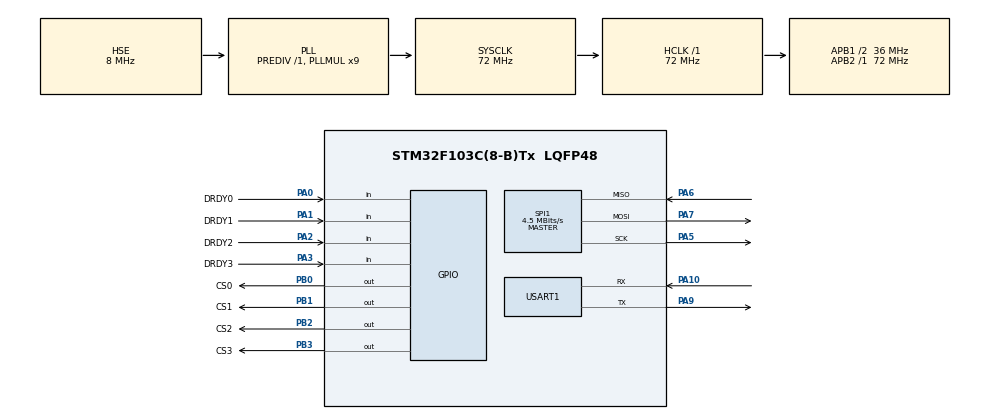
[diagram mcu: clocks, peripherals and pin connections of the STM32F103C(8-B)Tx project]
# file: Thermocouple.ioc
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Mcu.Family=STM32F1
Mcu.Name=STM32F103C(8-B)Tx
Mcu.Package=LQFP48
NVIC.PriorityGroup=NVIC_PRIORITYGROUP_4
NVIC.USART1_IRQn=true\:2\:0\:false\:false\:true\:false\:false\:true
PA0-WKUP.GPIO_Label=DRDY0
PA0-WKUP.GPIO_PuPd=GPIO_PULLUP
PA0-WKUP.Signal=GPIO_Input
PA1.GPIO_Label=DRDY1
PA1.GPIO_PuPd=GPIO_PULLUP
PA1.Signal=GPIO_Input
PA2.GPIO_Label=DRDY2
PA2.GPIO_PuPd=GPIO_PULLUP
PA2.Signal=GPIO_Input
PA3.GPIO_Label=DRDY3
PA3.GPIO_PuPd=GPIO_PULLUP
PA3.Signal=GPIO_Input
PA10.Mode=Asynchronous
PA10.Signal=USART1_RX
PA13.Mode=Serial_Wire
PA13.Signal=SYS_JTMS-SWDIO
PA14.Mode=Serial_Wire
PA14.Signal=SYS_JTCK-SWCLK
PA5.Mode=Full_Duplex_Master
PA5.Signal=SPI1_SCK
PA6.Mode=Full_Duplex_Master
PA6.Signal=SPI1_MISO
PA7.Mode=Full_Duplex_Master
PA7.Signal=SPI1_MOSI
PA9.Mode=Asynchronous
PA9.Signal=USART1_TX
PB0.GPIO_Label=CS0
PB0.GPIO_Speed=GPIO_SPEED_FREQ_HIGH
PB0.PinState=GPIO_PIN_SET
PB0.Signal=GPIO_Output
PB1.GPIO_Label=CS1
PB1.GPIO_Speed=GPIO_SPEED_FREQ_HIGH
PB1.PinState=GPIO_PIN_SET
PB1.Signal=GPIO_Output
PB2.GPIO_Label=CS2
PB2.GPIO_Speed=GPIO_SPEED_FREQ_HIGH
PB2.PinState=GPIO_PIN_SET
PB2.Signal=GPIO_Output
PB3.GPIO_Label=CS3
PB3.GPIO_Speed=GPIO_SPEED_FREQ_HIGH
PB3.PinState=GPIO_PIN_SET
PB3.Signal=GPIO_Output
PD0-OSC_IN.Mode=HSE-External-Oscillator
PD0-OSC_IN.Signal=RCC_OSC_IN
PD1-OSC_OUT.Mode=HSE-External-Oscillator
PD1-OSC_OUT.Signal=RCC_OSC_OUT
ProjectManager.HeapSize=0x200
ProjectManager.StackSize=0x800
ProjectManager.TargetToolchain=MDK-ARM V5.32
RCC.AHBFreq_Value=72000000
RCC.APB1CLKDivider=RCC_HCLK_DIV2
RCC.APB1Freq_Value=36000000
RCC.APB1TimFreq_Value=72000000
RCC.APB2CLKDivider=RCC_HCLK_DIV1
RCC.APB2Freq_Value=72000000
RCC.APB2TimFreq_Value=72000000
RCC.HCLKFreq_Value=72000000
RCC.PLLMUL=RCC_PLL_MUL9
RCC.PLLSourceVirtual=RCC_PLLSOURCE_HSE
RCC.SYSCLKFreq_VALUE=72000000
RCC.SYSCLKSource=RCC_SYSCLKSOURCE_PLLCLK
RCC.USBFreq_Value=72000000
SPI1.BaudRatePrescaler=SPI_BAUDRATEPRESCALER_16
SPI1.CalculateBaudRate=4.5 MBits/s
SPI1.Direction=SPI_DIRECTION_2LINES
SPI1.Mode=SPI_MODE_MASTER
SPI1.VirtualType=VM_MASTER
USART1.VirtualMode=VM_ASYNC
board=custom

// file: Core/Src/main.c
/* USER CODE BEGIN Header */
/**
  ******************************************************************************
  * @file           : main.c
  * @brief          : N x ADS1220 / 2N 路热电偶测温系统 主程序
  *                  (N = ADS1220_CHIP_COUNT, 默认 4 片 = 8 路; 改一个宏即可变 2/4/8 片)
  ******************************************************************************
  * @attention
  *
  * Copyright (c) 2026 STMicroelectronics.
  * All rights reserved.
  *
  * This software is licensed under terms that can be found in the LICENSE file
  * in the root directory of this software component.
  * If no LICENSE file comes with this software, it is provided AS-IS.
  *
  ******************************************************************************
  */
/* USER CODE END Header */
#include "main.h"
#include "spi.h"
#include "usart.h"
#include "gpio.h"

/* USER CODE BEGIN Includes */
#include "board_config.h"
#include "spi_driver.h"
#include "ads1220.h"
#include "thermocouple.h"
#include "uart_protocol.h"
/* USER CODE END Includes */

/* USER CODE BEGIN PTD */

/**
  * @brief 采集轮询状态机。
  *
  *  === 为什么仍然"广播 START/SYNC + 等一个转换周期" ===
  *  本板每片 ADS1220 各有一根 DRDY (PA0..PA3), 直接进 MCU, 不用外部逻辑门。
  *  SPI 总线是**共享**的, 同一时刻只能跟一片说话, 所以还是采用"先让所有片
  *  在时间上对齐, 再逐片读"的策略:
  *
  *    1) 每次切换 MUX / TS 之后, 对每片 **逐片** 发 WREG + START/SYNC。
  *       START/SYNC 会复位数字滤波器并重新开始转换, 于是所有片在时间上重新对齐
  *       (彼此只差几十微秒的 SPI 下发时间)。
  *    2) 等待期间同时满足两个条件才继续:
  *         a. 已经过了 >= 0.9 个转换周期 (保证读到的是新通道的数据, 不是上一次的);
  *         b. 所有"被等待的片"的 DRDY 都变低 —— 由 SPI_Driver_DrdyTakeFlag()
  *            把 N 根 DRDY 软件合成一个"全部就绪" (等价于原来的合并信号,
  *            但多了一个能力: 能分辨出到底是哪一片没就绪)。
  *       超时 (转换周期 + 25ms) 则记一次故障、把没就绪的片从等待集合里摘掉
  *       (同时置 chip_err 位), 流程继续, 保证永不卡死。
  *    3) 读完数据后, 该片的 DRDY 会在下一个 SCLK 上升沿自动变高,
  *       "全部就绪"随之解除, 等待下一轮转换完成, 不需要任何复位操作。
  *
  *  ★ "被等待的片" = 上电回读校验通过的片 (见 App_StartWait / s_chip_ok_mask)。
  *    这样"板上留了 4 个位置但只焊了 2 片"时, 没焊的片根本不在等待集合里,
  *    既不会每轮超时, 也不会把采集拖慢 —— 这是分步贴装能直接跑通的关键。
  *
  *  一个完整轮次 = A 通道 -> 切 MUX -> B 通道 -> 切 TS -> 冷端 -> 恢复 + 上报,
 *  每个阶段各占 s_avg_n 个转换周期 (20SPS 下一次 50ms), 因此 20SPS + 不平均
 *  时约 150ms/轮; 若把平均次数设为 N, 则每轮约 3 x N x 50ms。
 */
typedef enum
{
  APP_ST_STOPPED = 0,   /**< 已停止 (所有片处于 POWERDOWN) */
  APP_ST_WAIT_A,        /**< 等 A 通道 (AIN0/AIN1) 转换完成 */
  APP_ST_WAIT_B,        /**< 等 B 通道 (AIN2/AIN3) 转换完成 */
  APP_ST_WAIT_T         /**< 等内部温度传感器 (冷端) 转换完成 */
} App_State_t;

/* USER CODE END PTD */

/* USER CODE BEGIN PD */

/** 采集运行中, 超过这个时间一次"全部就绪"都没出现 -> 置"DRDY 静默"故障位。
 *  正常运行时每个转换周期至少来一次 (20SPS x 3 阶段 ≈ 20 次/秒),
 *  1 秒都没有说明总线或器件出问题了。 */
#define TC_DRDY_SILENT_MS      1000u

/* USER CODE END PD */

/* USER CODE BEGIN PV */

/*---- 配置与采集数据 ----*/
static ADS1220_Config_t s_cfg;                                  /**< 各片共用配置镜像 */

static int32_t  s_codeA[ADS1220_CHIP_COUNT];                    /**< A 通道 24bit 码值 */
static int32_t  s_codeB[ADS1220_CHIP_COUNT];                    /**< B 通道 24bit 码值 */
static int32_t  s_codeT[ADS1220_CHIP_COUNT];                    /**< 内部温度传感器码值 */
static int32_t  s_offset[ADS1220_CHIP_COUNT];                   /**< 上电失调校准结果(码值) */
static uint8_t  s_errA[ADS1220_CHIP_COUNT];                     /**< 0 = SPI 成功 */
static uint8_t  s_errB[ADS1220_CHIP_COUNT];
static uint8_t  s_errT[ADS1220_CHIP_COUNT];

static int32_t  s_accA[ADS1220_CHIP_COUNT];                     /**< A 通道累加器 (软件平均) */
static int32_t  s_accB[ADS1220_CHIP_COUNT];                     /**< B 通道累加器 */
static int32_t  s_accT[ADS1220_CHIP_COUNT];                     /**< 冷端温度累加器 */

#if (TC_UPLINK_MODE != 1)
/** 本板实际通道的最终温度 (长度 = 片数 x 2)。
 *  ★ 只在"固件算温度"模式 (0/2) 下需要 —— 默认模式 1 由上位机算, 这里不占空间。 */
static float    s_temps[TC_CHANNEL_COUNT];

/** 上报用的 32 槽温度缓冲区 (CMD=0x10)。协议固定 32 槽, 本板没接的槽位填 NaN。
 *  (上位机靠状态帧里的片数知道哪几路是真实存在的) */
static float    s_report[UART_TEMP_SLOT_COUNT];
#endif

#if (TC_UPLINK_MODE != 0)
/** ★ 原始上报缓冲 (CMD=0x12): 32 槽热电势 µV + 16 槽冷端温度 °C。
 *
 *  这是"温度由上位机换算"的数据源: 固件只把 ADS1220 的 24bit 码值变成
 *  µV 和冷端 °C, 其余(分度表/插值/单支标定)全部交给上位机 pc_ui/tc_table.py。
 *  码值 -> µV 这一步是无损的 (见 board_config.h 的说明)。 */
static float    s_report_uv[UART_TEMP_SLOT_COUNT];
static float    s_report_cj[UART_CJ_SLOT_COUNT];
#endif

/*---- 状态 ----*/
static App_State_t s_state;
static uint8_t   s_run;                                         /**< 1 = 采集运行中 */
static uint8_t   s_single_mode;                                 /**< 1 = 本次是"读单次"请求 */
static uint8_t   s_single_ch;                                   /**< 单次请求的通道号 */
static uint8_t   s_hold_a;                                      /**< MUX 保持计数 (CH_A) */
static uint8_t   s_hold_b;                                      /**< MUX 保持计数 (CH_B) */
static uint8_t   s_hold_t;                                      /**< MUX 保持计数 (冷端) */
static uint8_t   s_avg_n;                                       /**< ★软件平均次数 (1..TC_AVG_MAX_CONVERSIONS), CMD=0x04 可改 */

static uint16_t  s_chip_ok_mask;                                /**< 上电回读校验通过的片 */
static uint16_t  s_chip_err_mask;                               /**< 本轮 SPI 出错的片 */
static uint16_t  s_drdy_missing_mask;                           /**< 一直不就绪的片(没焊/坏了) */
static uint16_t  s_wait_mask;                                   /**< 本阶段实际要等的片 */
static uint32_t  s_round_count;                                 /**< 已完成轮次 */
static uint16_t  s_open_cnt;                                    /**< 断线累计次数 */
static uint16_t  s_phase_timeout_cnt;                           /**< 等待 DRDY 超时次数 */
static uint8_t   s_flags;                                       /**< UART_ST_FLAG_xxx */

/*---- 等待转换完成的窗口 ----*/
static uint32_t  s_wait_start;                                  /**< 本轮等待起始 tick */
static uint32_t  s_wait_min_ms;                                 /**< 最小等待 (0.9 x 转换周期) */
static uint32_t  s_wait_max_ms;                                 /**< 超时 (转换周期 + 25ms) */

/*---- 心跳 / 周期上报 ----*/
static uint32_t  s_last_drdy_cnt;
static uint32_t  s_last_drdy_tick;
static uint32_t  s_status_push_tick;

/* USER CODE END PV */

void SystemClock_Config(void);
/* USER CODE BEGIN PFP */
static void    App_StartWait(void);
static uint8_t App_WaitDone(void);
static void    App_ReadAll(int32_t *dst, uint8_t *err);
static void    App_ClearAvg(void);
static void    App_SetAverage(uint8_t n);
static void    App_ComputeTemps(void);
static void    App_ReportTemps(void);
static void    App_StatusFill(UART_Status_t *st);
static void    App_ReportStatus(void);
static void    App_Start(void);
static void    App_Stop(void);
static void    App_SetRate(uint8_t dr_bits, uint8_t reject);
static void    App_RequestSingle(uint8_t channel);
static void    App_HandleEvent(const UART_EventMsg_t *msg);
static void    App_Housekeeping(void);
static void    App_Run(void);
static void    App_HwInit(void);
/* USER CODE END PFP */

/* USER CODE BEGIN 0 */

/*==============================================================================
 * 小工具
 *============================================================================*/
/* (保留位置: 目前没有通用小工具, 全部逻辑都在下面的模块里) */

/*==============================================================================
 * 等待窗口
 *============================================================================*/
/** 开始一个新的"等转换完成"窗口。
 *  必须在广播 START/SYNC 之后调用, 这样计时基准和器件的转换起点一致。 */
static void App_StartWait(void)
{
  const ADS1220_RateInfo_t *ri = ADS1220_RateInfo(s_cfg.dr);
  uint16_t configured = (uint16_t)((1u << ADS1220_CHIP_COUNT) - 1u);

  /* 最小等待 = 0.9 x 实际转换时间, 宁可晚一点也不要把上一通道的旧数据当新的 */
  s_wait_min_ms = (ri->conv_us * ADS1220_WAIT_MIN_NUM) /
                  (1000u * ADS1220_WAIT_MIN_DEN);
  if (s_wait_min_ms == 0u)
  {
    s_wait_min_ms = 1u;                 /* 高速率下至少等 1ms */
  }

  /* 超时 = 转换时间 + 25ms 裕量 */
  s_wait_max_ms = (ri->conv_us / 1000u) + ADS1220_WAIT_MARGIN_MS;

  /* ★ 本阶段要等的片 = 上电回读校验通过 且 没有"一直不就绪"记录的片。
   *   这样"板上留了 4 个位置但只焊了 2 片"时, 没焊的片不在等待集合里,
   *   既不会每轮白等 25ms, 也不会把整轮采集拖慢。 */
  s_wait_mask = (uint16_t)(s_chip_ok_mask &
                           (uint16_t)(~s_drdy_missing_mask) &
                           configured);
  if (s_wait_mask == 0u)
  {
    /* 一片都没通过校验 (例如校验还没跑过) -> 退化成等全部, 让它超时并如实报错 */
    s_wait_mask = configured;
  }
  SPI_Driver_DrdySetExpectedMask(s_wait_mask);

  SPI_Driver_DrdyClearFlag();           /* 清掉 START 之前的残留"全就绪"锁存 */
  s_wait_start = HAL_GetTick();
}

/**
  * @brief 查询等待是否结束
  * @retval 0 = 继续等; 1 = 所有被等的片都就绪; 2 = 超时
  */
static uint8_t App_WaitDone(void)
{
  uint32_t elapsed = HAL_GetTick() - s_wait_start;

  if (elapsed < s_wait_min_ms)
  {
    return 0u;                          /* 还没到最小建立时间, 一律忽略 */
  }

  if (SPI_Driver_DrdyTakeFlag() != 0u)
  {
    return 1u;                          /* 所有被等的片都有新数据了 */
  }

  if (elapsed >= s_wait_max_ms)
  {
    /* ★ 超时诊断: 是哪几片没就绪? 把它们记进 chip_err 并从等待集合里摘掉,
     *   避免后面每一轮都在它们身上白等 25ms。摘掉之后, 上位机右侧的
     *   "芯片 ERR 位图"就能直接指出问题片号 (没焊 / 虚焊 / 供电异常)。 */
    uint16_t ready   = SPI_Driver_DrdyReadyMask();
    uint16_t missing = (uint16_t)(s_wait_mask & (uint16_t)(~ready));

    if (missing != 0u)
    {
      s_drdy_missing_mask |= missing;
      s_chip_err_mask     |= missing;
      s_flags             |= UART_ST_FLAG_DRDY_PARTIAL;
      s_wait_mask          = (uint16_t)(s_wait_mask & (uint16_t)(~missing));
      SPI_Driver_DrdySetExpectedMask(s_wait_mask);   /* 传 0 时内部会保持原值 */
    }
    return 2u;                          /* 超时: 器件没响应 */
  }

  return 0u;
}

/*==============================================================================
 * 数据读取
 *============================================================================*/
/** 逐片读 24bit。err[] 记录每片的 SPI 结果 (0 = 成功)。 */
static void App_ReadAll(int32_t *dst, uint8_t *err)
{
  uint8_t chip;

  for (chip = 0u; chip < ADS1220_CHIP_COUNT; chip++)
  {
    err[chip] = (uint8_t)ADS1220_ReadData(chip, &dst[chip], NULL);
  }
}

/** 清空三个阶段的软件平均累加器 (启动 / 单次读取 / 改平均次数时调用,
 *  避免把上一轮的半截累加结果带进新一轮)。 */
static void App_ClearAvg(void)
{
  uint8_t chip;

  for (chip = 0u; chip < ADS1220_CHIP_COUNT; chip++)
  {
    s_accA[chip] = 0;
    s_accB[chip] = 0;
    s_accT[chip] = 0;
  }
}

/** ★ 设置软件平均次数 (CMD=0x04)。
 *
 *  夹到 1..TC_AVG_MAX_CONVERSIONS (0 会被当成 1 = 不平均)。
 *  运行中修改是安全的: 立刻清累加器和保持计数, 下一阶段的读取就用新次数,
 *  不会把"新旧次数"的样本混在一起平均。 */
static void App_SetAverage(uint8_t n)
{
  if (n < 1u)
  {
    n = 1u;
  }
  if (n > (uint8_t)TC_AVG_MAX_CONVERSIONS)
  {
    n = (uint8_t)TC_AVG_MAX_CONVERSIONS;
  }

  s_avg_n  = n;
  s_hold_a = 0u;
  s_hold_b = 0u;
  s_hold_t = 0u;
  App_ClearAvg();
}

/*==============================================================================
 * 温度换算 / 原始量打包 (冷端补偿在这里完成)
 *============================================================================*/
/** 把本轮的 A/B 通道与冷端整理成上报数据, 并做断线判定。
 *
 *  ★ 这里是"温度由谁换算"的分岔点 (TC_UPLINK_MODE):
 *      0 -> 固件用 NIST 多项式算 °C, 填 s_temps      (老行为)
 *      1 -> 只填 s_report_uv / s_report_cj, 上位机查分度表算 °C  (默认)
 *      2 -> 两边都填, 用于固件/上位机对比验证
 *
 *  三种模式下 s_chip_err_mask / s_open_cnt / s_drdy_missing_mask 的维护完全一致,
 *  所以状态帧和断线计数在任何模式下都照常工作。
 *
 *  注意断线判定用的是 TC_IsOpen() 而不是 TC_Compute(): 前者只做
 *  "冷端量程 + 满量程码值 + 物理窗口"三个判断, 不含任何多项式运算,
 *  因此模式 1 下固件不需要算温度也能准确识别断线。 */
static void App_ComputeTemps(void)
{
  uint8_t chip;
  uint8_t ia;
  uint8_t ib;
  float   cj_c;
  float   emf_uv;

  s_chip_err_mask = 0u;         /* 本轮错误位图从这里开始重新累积 */

#if (TC_UPLINK_MODE != 0)
  /* 原始上报缓冲先全置 NaN: 没接的通道 / 没贴的片保持 NaN, 上位机据此显示"无效" */
  {
    uint16_t k;
    for (k = 0u; k < UART_TEMP_SLOT_COUNT; k++)
    {
      s_report_uv[k] = UART_NaN();
    }
    for (k = 0u; k < UART_CJ_SLOT_COUNT; k++)
    {
      s_report_cj[k] = UART_NaN();
    }
  }
#endif

  for (chip = 0u; chip < ADS1220_CHIP_COUNT; chip++)
  {
    ia = TC_CH_INDEX_A(chip);
    ib = TC_CH_INDEX_B(chip);

    /* 默认本片两个通道都无效 */
#if (TC_UPLINK_MODE != 1)
    s_temps[ia] = UART_NaN();
    s_temps[ib] = UART_NaN();
#endif

    /* 跳过两类片:
     *   a) 上电回读校验没通过 (没焊/虚焊) —— 避免把"空总线读回的全 0"
     *      当成 0uV, 从而报出一个看起来正常的冷端温度;
     *   b) 采集过程中一直不就绪的片 (由 App_WaitDone 的超时诊断标出来)。 */
    if (((s_chip_ok_mask & (uint16_t)(1u << chip)) == 0u) ||
        ((s_drdy_missing_mask & (uint16_t)(1u << chip)) != 0u))
    {
      s_chip_err_mask |= (uint16_t)(1u << chip);
      continue;
    }

    /* ---- 冷端温度 (ADS1220 内部温度传感器, 每轮采一次) ---- */
    if (s_errT[chip] != 0u)
    {
      s_chip_err_mask |= (uint16_t)(1u << chip);
      continue;                       /* 冷端无效 -> 该片两路都没法算 */
    }
    cj_c = ADS1220_TempCodeToCelsius(s_codeT[chip]);

#if (TC_UPLINK_MODE != 0)
    /* ★ 冷端原始量也要发给上位机: 冷端补偿 V+E(T_CJ) 必须由同一个算法完成,
     *   只给 µV 不给冷端温度, 上位机是算不出热端温度的。 */
    s_report_cj[chip] = cj_c;
#endif

    /* ---- A 通道: AIN0/AIN1 ---- */
    if (s_errA[chip] == 0u)
    {
      emf_uv = ADS1220_CodeToMicroVolt(s_codeA[chip] - s_offset[chip], s_cfg.gain);
      if (TC_IsOpen(emf_uv, cj_c, s_codeA[chip]) != 0u)
      {
        s_open_cnt++;                 /* 断线/超量程: 该通道保持 NaN */
      }
      else
      {
#if (TC_UPLINK_MODE != 0)
        s_report_uv[ia] = emf_uv;     /* 上位机算温度用的原始量 */
#endif
#if (TC_UPLINK_MODE != 1)
        s_temps[ia] = TC_CompensateHotJunction(emf_uv, cj_c);
#endif
      }
    }
    else
    {
      s_chip_err_mask |= (uint16_t)(1u << chip);
    }

    /* ---- B 通道: AIN2/AIN3 ---- */
    if (s_errB[chip] == 0u)
    {
      emf_uv = ADS1220_CodeToMicroVolt(s_codeB[chip] - s_offset[chip], s_cfg.gain);
      if (TC_IsOpen(emf_uv, cj_c, s_codeB[chip]) != 0u)
      {
        s_open_cnt++;
      }
      else
      {
#if (TC_UPLINK_MODE != 0)
        s_report_uv[ib] = emf_uv;
#endif
#if (TC_UPLINK_MODE != 1)
        s_temps[ib] = TC_CompensateHotJunction(emf_uv, cj_c);
#endif
      }
    }
    else
    {
      s_chip_err_mask |= (uint16_t)(1u << chip);
    }
  }
}

/*==============================================================================
 * 上报
 *============================================================================*/
static void App_ReportTemps(void)
{
  uint16_t i;

  /*====================================================================
   * 1) 温度帧 (CMD=0x10): 固件已经算好的 °C
   *    只在 TC_UPLINK_MODE = 0 / 2 时发。
   *==================================================================*/
#if (TC_UPLINK_MODE != 1)
  /* 先把 32 个槽位全部填成 NaN。
   * ★ 协议固定 32 槽, 本板没接的通道就保持 NaN —— 上位机看到 NaN 就知道
   *   "这一路不存在/断线", 而且 4 路板 / 8 路板 / 16 路板共用同一套上位机。 */
  for (i = 0u; i < UART_TEMP_SLOT_COUNT; i++)
  {
    s_report[i] = UART_NaN();
  }

  if ((s_single_mode != 0u) && (s_single_ch != UART_CH_SINGLE_ALL))
  {
    /* 单通道请求: 32 槽里只放目标通道那一个值, 其余保持 NaN */
    if (s_single_ch < UART_TEMP_SLOT_COUNT)
    {
      s_report[s_single_ch] = (s_single_ch < TC_CHANNEL_COUNT)
                              ? s_temps[s_single_ch]
                              : UART_NaN();
    }
  }
  else
  {
    /* 正常上报: 把本板实际通道拷进前 TC_CHANNEL_COUNT 个槽位 */
    for (i = 0u; i < TC_CHANNEL_COUNT; i++)
    {
      s_report[i] = s_temps[i];
    }
  }

  (void)UART_Protocol_SendTempFrame(s_report);
#endif

  /*====================================================================
   * 2) ★原始帧 (CMD=0x12): 热电势 µV + 冷端 °C, 温度由上位机查分度表算。
   *    只在 TC_UPLINK_MODE = 1 / 2 时发。
   *
   *    单次读取时同样只保留目标通道 (与温度帧同一约定), 其余置 NaN。
   *    这里就地改 s_report_uv 是安全的: 它每轮都会被 App_ComputeTemps()
   *    重新填满, 不会把上一轮的掩码带到下一轮。
   *==================================================================*/
#if (TC_UPLINK_MODE != 0)
  if ((s_single_mode != 0u) && (s_single_ch != UART_CH_SINGLE_ALL))
  {
    for (i = 0u; i < UART_TEMP_SLOT_COUNT; i++)
    {
      if (i != (uint16_t)s_single_ch)
      {
        s_report_uv[i] = UART_NaN();
      }
    }
  }

  (void)UART_Protocol_SendRawFrame(s_report_uv, s_report_cj);
#endif
}

static void App_StatusFill(UART_Status_t *st)
{
  st->run_state      = s_run;
  st->dr_bits        = s_cfg.dr;
  st->reject         = s_cfg.reject;
  /* ★ 上报本板实际片数: 上位机据此只显示真实存在的通道
   *   (没接的槽位虽然也发了, 但值恒为 NaN, 不必显示成"断线"吓人) */
  st->chip_count     = (uint8_t)ADS1220_CHIP_COUNT;
  st->chip_ok_mask   = s_chip_ok_mask;
  st->chip_err_mask  = s_chip_err_mask;
  st->round_count    = s_round_count;
  st->uptime_ms      = HAL_GetTick();
  st->drdy_irq_count = (uint16_t)(SPI_Driver_DrdyReadyCount() & 0xFFFFu);
  st->spi_err_count  = (uint16_t)(SPI_Driver_ErrorCount() & 0xFFFFu);
  st->open_tc_count  = s_open_cnt;
  st->phase_timeout_count = s_phase_timeout_cnt;
  st->avg_n          = s_avg_n;   /* ★ 当前生效的软件平均次数 */

  st->flags = s_flags;
#if (TC_UPLINK_MODE != 0)
  /* ★ 告诉上位机"我发的是原始帧(0x12), 温度请你算":
   *   上位机据此选用查表换算而不是直接画 0x10 的温度。 */
  st->flags |= UART_ST_FLAG_RAW_UPLINK;
#endif
  if (UART_Protocol_GetTxOverflowCount() != 0u)
  {
    st->flags |= UART_ST_FLAG_TX_OVERFLOW;
  }
  if (UART_Protocol_GetCrcErrCount() != 0u)
  {
    st->flags |= UART_ST_FLAG_CRC_ERR;
  }
}

static void App_ReportStatus(void)
{
  UART_Status_t st;

  App_StatusFill(&st);
  (void)UART_Protocol_SendStatusFrame(&st);
}

/*==============================================================================
 * 启动 / 停止 / 改速率 / 单次
 *============================================================================*/
/** 启动采集: 重新下发配置 -> 回读校验 -> 广播 START/SYNC -> 进入轮询。
 *  重新回读校验是为了支持"运行中热插拔/换线后发一次启动命令自愈"。 */
static void App_Start(void)
{
  uint8_t regs[ADS1220_REG_COUNT];

  ADS1220_BuildRegs(&s_cfg, regs);

  (void)ADS1220_SetConfigAll(&s_cfg);
  (void)ADS1220_VerifyAll(regs, &s_chip_ok_mask);
  (void)ADS1220_StartAll();

  s_run         = 1u;
  s_hold_a      = 0u;
  s_hold_b      = 0u;
  s_hold_t      = 0u;
  App_ClearAvg();             /* 丢弃上一轮残留的半截平均累加 */
  s_chip_err_mask = 0u;
  s_drdy_missing_mask = 0u;   /* 每次启动都重新信任一次: 重新校验过就再等它 */
  s_state       = APP_ST_WAIT_A;

  App_StartWait();
}

/** 停止采集: 所有片进入 POWERDOWN (寄存器值保持, 下次 START/SYNC 即可恢复)。 */
static void App_Stop(void)
{
  s_run         = 0u;
  s_single_mode = 0u;
  (void)ADS1220_PowerDownAll();
  s_state = APP_ST_STOPPED;
}

/** 修改采样率。
 *  手册 Table 8-13: 50/60Hz 抑制滤波器只能在"正常模式 + 20SPS"下打开,
 *  其它数据率必须写 00b —— 这里强制保证, 避免上位机下发非法组合。 */
static void App_SetRate(uint8_t dr_bits, uint8_t reject)
{
  const ADS1220_RateInfo_t *ri = ADS1220_RateInfo(dr_bits);

  s_cfg.dr = ri->dr_bits;

  if ((ri->reject_ok != 0u) && (s_cfg.mode == ADS1220_MODE_NORMAL))
  {
    s_cfg.reject = reject;
  }
  else
  {
    s_cfg.reject = ADS1220_REJECT_NONE;
  }

  if (s_run != 0u)
  {
    App_Start();                     /* 重新下发 + 重新同步 */
  }
  else
  {
    (void)ADS1220_SetConfigAll(&s_cfg);
  }
}

/** 单次读取: 无论当前在哪个阶段, 都把所有片拉回 CH_A + TS=0 重新跑一整轮。 */
static void App_RequestSingle(uint8_t channel)
{
  s_single_ch   = (channel < TC_CHANNEL_COUNT) ? channel : UART_CH_SINGLE_ALL;
  s_single_mode = 1u;

  if (s_run == 0u)
  {
    /* 之前是 POWERDOWN: 寄存器值还保留着, 但保险起见重发一遍配置 */
    (void)ADS1220_SetConfigAll(&s_cfg);
  }

  (void)ADS1220_SetMuxAll(ADS1220_MUX_AIN0_AIN1);
  (void)ADS1220_SetTempSensorAll(0u);
  (void)ADS1220_StartAll();

  s_hold_a        = 0u;
  s_hold_b        = 0u;
  s_hold_t        = 0u;
  App_ClearAvg();                 /* 单次读取也从干净的累加器开始 */
  s_chip_err_mask = 0u;
  s_state         = APP_ST_WAIT_A;

  App_StartWait();
}

/*==============================================================================
 * 命令分发
 *============================================================================*/
static void App_HandleEvent(const UART_EventMsg_t *msg)
{
  switch (msg->ev)
  {
    case UART_EV_SET_RATE:
      App_SetRate(msg->dr_bits, msg->reject);
      App_ReportStatus();
      break;

    case UART_EV_START:
      App_Start();
      App_ReportStatus();
      break;

    case UART_EV_STOP:
      App_Stop();
      App_ReportStatus();
      break;

    case UART_EV_SINGLE:
      App_RequestSingle(msg->channel);
      break;

    case UART_EV_SET_AVG:
      /* ★ 运行中修改软件平均次数, 改完回一帧状态让上位机确认生效值 */
      App_SetAverage(msg->avg_n);
      App_ReportStatus();
      break;

    default:
      break;
  }
}

/*==============================================================================
 * 心跳 / 周期性状态上报
 *============================================================================*/
static void App_Housekeeping(void)
{
  uint32_t now = HAL_GetTick();
  uint32_t cnt = SPI_Driver_DrdyReadyCount();

  if (cnt != s_last_drdy_cnt)
  {
    s_last_drdy_cnt  = cnt;
    s_last_drdy_tick = now;
    s_flags = (uint8_t)(s_flags & (uint8_t)(~UART_ST_FLAG_DRDY_SILENT));
  }
  else if ((s_run != 0u) && ((now - s_last_drdy_tick) > TC_DRDY_SILENT_MS))
  {
    s_flags |= UART_ST_FLAG_DRDY_SILENT;
  }

#if (TC_STATUS_PUSH_PERIOD_MS != 0u)
  if ((now - s_status_push_tick) >= TC_STATUS_PUSH_PERIOD_MS)
  {
    s_status_push_tick = now;
    App_ReportStatus();
  }
#endif
}

/*==============================================================================
 * 主任务 (主循环里反复调用, 不含任何阻塞等待)
 *============================================================================*/
static void App_Run(void)
{
  UART_EventMsg_t msg;

  /* ---- 1) 先把上位机命令消化掉 (停止状态下也要能收命令) ---- */
  while (UART_Protocol_GetEvent(&msg) != 0u)
  {
    App_HandleEvent(&msg);
  }

  /* ---- 2) 串口: 半截帧超时复位 / 接收中断自愈 / 发送续传 ---- */
  UART_Protocol_Poll();

  /* ---- 3) 采集状态机 ---- */
  if ((s_run == 0u) && (s_single_mode == 0u))
  {
    App_Housekeeping();
    return;
  }

  switch (s_state)
  {
    /*--------------------------------------------------------------------
     * 阶段 1: A 通道 (MUX = AIN0/AIN1)
     *------------------------------------------------------------------*/
    case APP_ST_WAIT_A:
    {
      uint8_t w = App_WaitDone();
      uint8_t chip;

      if (w == 0u)
      {
        break;                                  /* 还没好, 下一圈再看 */
      }
      if (w == 2u)
      {
        s_phase_timeout_cnt++;                  /* 超时: 记故障, 但流程继续 */
      }

      App_ReadAll(s_codeA, s_errA);

      /* ★ 软件平均: 把本次读数累加进 A 通道累加器。连续读 s_avg_n 次后取
       *   算术平均再切 MUX, 把随机噪声(白噪声)压到 1/sqrt(N); N=1 即不平均。 */
      for (chip = 0u; chip < ADS1220_CHIP_COUNT; chip++)
      {
        s_accA[chip] += s_codeA[chip];
      }
      s_hold_a++;

      if (s_hold_a < s_avg_n)
      {
        App_StartWait();                        /* 继续读同一通道, 多累加几个样本 */
        break;
      }

      /* 达到平均次数: 求平均 (四舍五入) 并清累加器, 之后才切 MUX */
      for (chip = 0u; chip < ADS1220_CHIP_COUNT; chip++)
      {
        s_codeA[chip] = (s_accA[chip] + ((int32_t)s_hold_a / 2)) / (int32_t)s_hold_a;
        s_accA[chip] = 0;
      }
      s_hold_a = 0u;

      /* 切到 B 通道, 并用 START/SYNC 让所有片重新同步 */
      (void)ADS1220_SetMuxAll(ADS1220_MUX_AIN2_AIN3);
      (void)ADS1220_StartAll();
      App_StartWait();
      s_state = APP_ST_WAIT_B;
      break;
    }

    /*--------------------------------------------------------------------
     * 阶段 2: B 通道 (MUX = AIN2/AIN3)
     *------------------------------------------------------------------*/
    case APP_ST_WAIT_B:
    {
      uint8_t w = App_WaitDone();
      uint8_t chip;

      if (w == 0u)
      {
        break;
      }
      if (w == 2u)
      {
        s_phase_timeout_cnt++;
      }

      App_ReadAll(s_codeB, s_errB);

      /* ★ 软件平均 (与 A 通道同一逻辑) */
      for (chip = 0u; chip < ADS1220_CHIP_COUNT; chip++)
      {
        s_accB[chip] += s_codeB[chip];
      }
      s_hold_b++;
      if (s_hold_b < s_avg_n)
      {
        App_StartWait();
        break;
      }
      for (chip = 0u; chip < ADS1220_CHIP_COUNT; chip++)
      {
        s_codeB[chip] = (s_accB[chip] + ((int32_t)s_hold_b / 2)) / (int32_t)s_hold_b;
        s_accB[chip] = 0;
      }
      s_hold_b = 0u;

      /* 切到内部温度传感器: CONFIG1.TS = 1。
       * 注意 TS=1 时 CONFIG0 的设置全部失效, 且强制使用内部 2.048V 基准。 */
      (void)ADS1220_SetTempSensorAll(1u);
      (void)ADS1220_StartAll();
      App_StartWait();
      s_state = APP_ST_WAIT_T;
      break;
    }

    /*--------------------------------------------------------------------
     * 阶段 3: 冷端温度 -> 恢复 -> 换算 -> 上报
     *------------------------------------------------------------------*/
    case APP_ST_WAIT_T:
    {
      uint8_t w = App_WaitDone();
      uint8_t chip;

      if (w == 0u)
      {
        break;
      }
      if (w == 2u)
      {
        s_phase_timeout_cnt++;
      }

      App_ReadAll(s_codeT, s_errT);

      /* ★ 冷端也做同样的软件平均: 冷端是本片两路共用的基准, 它的噪声会变成
       *   整片的公共误差, 平均收益和热电偶通道完全一样。 */
      for (chip = 0u; chip < ADS1220_CHIP_COUNT; chip++)
      {
        s_accT[chip] += s_codeT[chip];
      }
      s_hold_t++;
      if (s_hold_t < s_avg_n)
      {
        App_StartWait();
        break;
      }
      for (chip = 0u; chip < ADS1220_CHIP_COUNT; chip++)
      {
        s_codeT[chip] = (s_accT[chip] + ((int32_t)s_hold_t / 2)) / (int32_t)s_hold_t;
        s_accT[chip] = 0;
      }
      s_hold_t = 0u;

      /* 恢复: TS=0 + MUX 回 CH_A, 然后重新同步开始下一轮的 A 通道转换。
       * 这里先发 START 再上报, 让串口发送时间和 50ms 转换时间重叠。 */
      (void)ADS1220_SetTempSensorAll(0u);
      (void)ADS1220_SetMuxAll(ADS1220_MUX_AIN0_AIN1);
      (void)ADS1220_StartAll();
      App_StartWait();

      /* 冷端补偿 + 断线判定; 出错位图在 App_ComputeTemps() 开头清零后重新累积,
       * 保留到下一轮开始, 这样周期性的状态帧能读到本轮的故障信息。 */
      App_ComputeTemps();

      /* 上报温度帧 (CMD=0x10, 固定 32 槽, 没接的槽位是 NaN) */
      App_ReportTemps();

      s_round_count++;

      if (s_single_mode != 0u)
      {
        s_single_mode = 0u;
        if (s_run == 0u)
        {
          /* 这是"停止状态下读单次": 报完就重新掉电 */
          (void)ADS1220_PowerDownAll();
          s_state = APP_ST_STOPPED;
          break;
        }
      }

      s_state = APP_ST_WAIT_A;
      break;
    }

    default:
      /* APP_ST_STOPPED */
      s_state = APP_ST_STOPPED;
      break;
  }

  App_Housekeeping();
}

/*==============================================================================
 * 硬件初始化 (上电流程)
 *============================================================================*/
static void App_HwInit(void)
{
  uint16_t ok_mask = 0u;

  /* ---- 1) 协议层 (打开接收中断) ---- */
  UART_Protocol_Init();

  /* ---- 2) 自检 ---- */
  if (TC_SelfTest() == 0u)
  {
    s_flags |= UART_ST_FLAG_SELFTEST;
  }
  if (UART_Protocol_SelfTest() == 0u)
  {
    s_flags |= UART_ST_FLAG_SELFTEST;
  }

  /* ---- 3) 默认寄存器配置 (对应需求里的 CONFIG0..CONFIG3) ---- */
  ADS1220_DefaultConfig(&s_cfg);

  /* ---- 3b) ★软件平均次数上电默认值 (可由上位机 CMD=0x04 运行时修改) ---- */
  s_avg_n  = (uint8_t)TC_MUX_HOLD_CONVERSIONS;
  s_hold_a = 0u;
  s_hold_b = 0u;
  s_hold_t = 0u;
  App_ClearAvg();

  /* ---- 4) 上电初始化:
   *        >=50ms 等待 -> 逐片 RESET(0x06) -> 1ms -> WREG 4 字节
   *        -> 回读校验 -> START/SYNC(0x08)                       ---- */
  (void)ADS1220_PowerUpInit(&s_cfg, &ok_mask);
  s_chip_ok_mask = ok_mask;
  if (ok_mask != (uint16_t)((1u << ADS1220_CHIP_COUNT) - 1u))
  {
    /* 有片没通过回读校验: 最常见的原因就是"板上留了位置但还没焊",
     * 上位机状态帧的"芯片 ERR 位图"会直接指出是第几片。 */
    s_flags |= UART_ST_FLAG_VERIFY_FAIL;
  }

  /* ★ 把"要等待就绪"的集合收窄成校验通过的片:
   *   没焊的片 DRDY 被内部上拉钳高, 如果还等它, 每一轮都会白等 25ms 超时。 */
  SPI_Driver_DrdySetExpectedMask(ok_mask);

  /* ---- 5) 内部短路失调校准 (手册 9.1.5; ADS1220 没有 "SELF CAL 0x04" 指令,
   *        这是等效且正确的做法)。默认 4 次平均, 耗时约 200ms。 ---- */
#if (TC_OFFSET_CAL_ENABLE != 0)
  {
    uint8_t i;
    for (i = 0u; i < ADS1220_CHIP_COUNT; i++)
    {
      s_offset[i] = 0;
    }
    (void)ADS1220_OffsetCalibrateAll(&s_cfg, s_offset, TC_OFFSET_CAL_SAMPLES);
  }
#else
  {
    uint8_t i;
    for (i = 0u; i < ADS1220_CHIP_COUNT; i++)
    {
      s_offset[i] = 0;
    }
  }
#endif

  /* ---- 6) 启动连续采集 ---- */
  App_Start();

  s_last_drdy_cnt   = SPI_Driver_DrdyReadyCount();
  s_last_drdy_tick  = HAL_GetTick();
  s_status_push_tick = HAL_GetTick();
}

/* USER CODE END 0 */

int main(void)
{

  /* MCU Configuration--------------------------------------------------------*/

  /* Reset of all peripherals, Initializes the Flash interface and the Systick. */
  HAL_Init();

  /* Configure the system clock */
  SystemClock_Config();

  /* Initialize all configured peripherals */
  MX_GPIO_Init();
  MX_SPI1_Init();
  MX_USART1_UART_Init();
  /* USER CODE BEGIN 2 */

  App_HwInit();     /* 自检 -> 复位/配置所有 ADS1220 -> 失调校准 -> 启动采集 */

  /* USER CODE END 2 */

  /* Infinite loop */
  while (1)
  {

    /* USER CODE BEGIN 3 */
    App_Run();      /* 非阻塞: 命令解析 + DRDY 标志消费 + 采集状态机 + 上报 */
  }
  /* USER CODE END 3 */
}

void SystemClock_Config(void)
{
  RCC_OscInitTypeDef RCC_OscInitStruct = {0};
  RCC_ClkInitTypeDef RCC_ClkInitStruct = {0};

  /** Initializes the RCC Oscillators according to the specified parameters
  * in the RCC_OscInitTypeDef structure.
  */
  RCC_OscInitStruct.OscillatorType = RCC_OSCILLATORTYPE_HSE;
  RCC_OscInitStruct.HSEState = RCC_HSE_ON;
  RCC_OscInitStruct.HSEPredivValue = RCC_HSE_PREDIV_DIV1;
  RCC_OscInitStruct.HSIState = RCC_HSI_ON;
  RCC_OscInitStruct.PLL.PLLState = RCC_PLL_ON;
  RCC_OscInitStruct.PLL.PLLSource = RCC_PLLSOURCE_HSE;
  RCC_OscInitStruct.PLL.PLLMUL = RCC_PLL_MUL9;
  if (HAL_RCC_OscConfig(&RCC_OscInitStruct) != HAL_OK)
  {
    Error_Handler();
  }

  /** Initializes the CPU, AHB and APB buses clocks
  */
  RCC_ClkInitStruct.ClockType = RCC_CLOCKTYPE_HCLK|RCC_CLOCKTYPE_SYSCLK
                              |RCC_CLOCKTYPE_PCLK1|RCC_CLOCKTYPE_PCLK2;
  RCC_ClkInitStruct.SYSCLKSource = RCC_SYSCLKSOURCE_PLLCLK;
  RCC_ClkInitStruct.AHBCLKDivider = RCC_SYSCLK_DIV1;
  RCC_ClkInitStruct.APB1CLKDivider = RCC_HCLK_DIV2;
  RCC_ClkInitStruct.APB2CLKDivider = RCC_HCLK_DIV1;   /* ★ APB2 = 72MHz
       * 原模板是 DIV4(APB2=18MHz, 为了把 MAX31855 的 SCK 压到 562.5kHz)。
       * 现在 SPI1 在 APB2 上, 用 /16 得到 4.5MHz (满足 ADS1220 tc(SC)>=150ns),
       * 同时 USART1 拿到 72MHz 时钟, 115200 和 460800 都是整数分频、零误差。 */

  if (HAL_RCC_ClockConfig(&RCC_ClkInitStruct, FLASH_LATENCY_2) != HAL_OK)
  {
    Error_Handler();
  }
}

void Error_Handler(void)
{
  __disable_irq();
  while (1)
  {
  }
}
